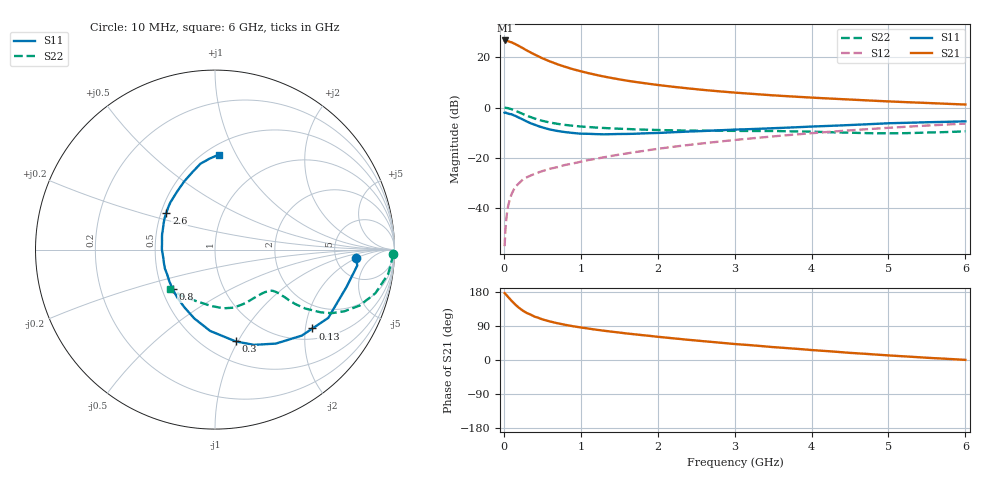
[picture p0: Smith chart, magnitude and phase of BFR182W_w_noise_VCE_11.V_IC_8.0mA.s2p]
! Infineon Technologies  Discrete & RF Semiconductors
! BFR182W
! VCE =  11. V,  IC =  8.0 mA
! Common Emitter S-Parameters:  Jan 2017
# GHz  S  MA  R  50
!  f  S11  S21  S12  S22
! GHz  MAG  ANG  MAG  ANG  MAG  ANG  MAG  ANG
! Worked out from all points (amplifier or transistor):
!   77 points, 10 MHz to 6 GHz, reference 50 ohm
!   highest |S21| = 26.8 dB at 20 MHz (marker M1)
!   |S21| within 3 dB of that: start of sweep to 242.4 MHz
!   unconditionally stable (mu >= 1): 1.178 GHz to 2.736 GHz
!   at 130 MHz: K = 0.25, MSG = 29.2 dB, |S12| = -32.7 dB
!   at 2.2 GHz: K = 1.03, MAG = 10.9 dB, |S12| = -15.7 dB
!   at 6 GHz: K = 0.85, MSG = 3.8 dB, |S12| = -6.4 dB
!   lowest NFmin = 1.00 dB at 450 MHz
!   S11 on the Smith chart (normalised r, x): 10 MHz: 7.95, -1.90; 130 MHz: 1.27, -2.19; 300 MHz: 0.69, -0.98; 800 MHz: 0.57, -0.28; 2.6 GHz: 0.53, +0.25; 6 GHz: 0.58, +0.85
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0.01  0.7875 -3.3  21.84 176.7  0.0017 84.6  0.9943 -1.5
0.02  0.7976 -6.4  21.85 174.6  0.0035 91.5  0.9873 -3.4
0.05  0.7617 -15.9  21.27 167.5  0.0097 81.6  0.9744 -8.0
0.1  0.7368 -31.1  20.09 156.2  0.0185 76.5  0.9263 -15.2
0.13  0.6985 -39.0  19.05 150.3  0.0231 71.1  0.8883 -18.6
0.15  0.681 -44.7  18.48 146.0  0.0262 68.6  0.8649 -21.1
0.2  0.6238 -57.1  16.8 137.2  0.031 65.3  0.7999 -25.4
0.25  0.5728 -67.9  15.24 129.8  0.0369 62.3  0.7401 -28.6
0.3  0.5238 -77.4  13.75 123.9  0.0405 60.0  0.6845 -30.7
0.4  0.454 -93.4  11.44 114.4  0.0473 58.2  0.6023 -33.1
0.5  0.4007 -106.7  9.638 107.3  0.0537 58.5  0.5428 -34.1
0.6  0.3636 -118.1  8.322 101.6  0.0598 58.6  0.5015 -34.4
0.7  0.3396 -128.3  7.281 96.9  0.0647 59.3  0.471 -34.3
0.8  0.3224 -137.2  6.483 92.7  0.0715 60.8  0.4488 -34.5
1.1  0.2985 -159.3  4.857 82.9  0.0893 62.6  0.4077 -35.0
1.5  0.2961 179.2  3.65 72.4  0.1148 63.8  0.3768 -37.8
2.1  0.3148 156.6  2.707 59.3  0.1567 63.8  0.3527 -46.1
2.6  0.3399 142.9  2.241 49.5  0.1931 62.2  0.3438 -55.3
3.1  0.3658 131.2  1.937 40.7  0.2322 59.7  0.3406 -64.6
4.1  0.4221 112.8  1.549 24.9  0.3153 52.7  0.326 -84.2
5.1  0.4891 98.4  1.305 10.9  0.4014 43.9  0.3057 -112.7
6  0.529 87.8  1.147 0.3  0.4775 34.9  0.3347 -139.1
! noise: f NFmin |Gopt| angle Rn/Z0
0.45  1  0.12  39  0.15
0.9  1.08  0.12  69  0.15
1.9  1.59  0.18  -174  0.13
2.4  1.85  0.18  -169  0.19
